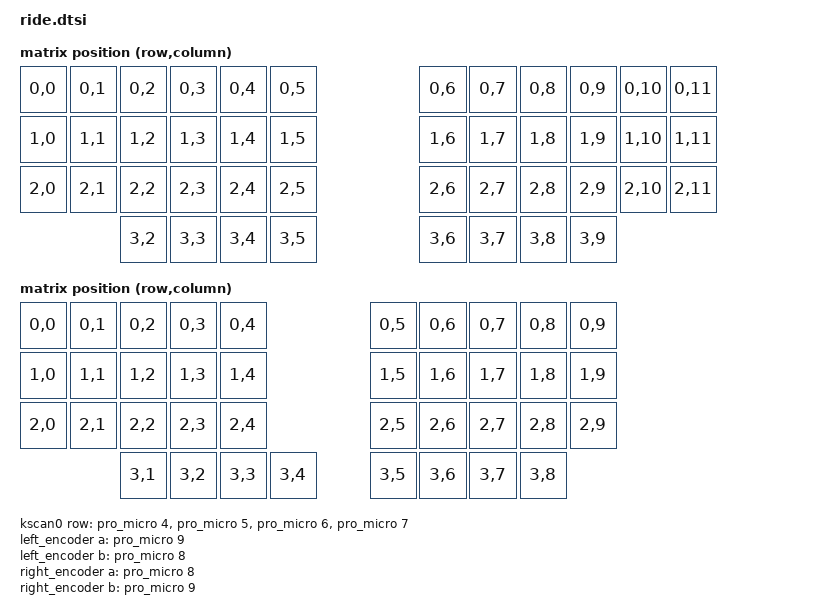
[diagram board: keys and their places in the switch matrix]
/*
 * Copyright (c) 2020 Pete Johanson
 *
 * SPDX-License-Identifier: MIT
 */

#include <dt-bindings/zmk/matrix_transform.h>

/ {
	chosen {
		zmk,kscan = &kscan0;
		zmk,matrix_transform = &default_transform;
	};

	default_transform: keymap_transform_0 {
		compatible = "zmk,matrix-transform";
		columns = <12>;
		rows = <4>;
// | MX6  | MX5  | MX4  | MX3  | MX2  | MX1  |                               | MX1  | MX2  | MX3  | MX4  | MX5  | MX6  |
// | MX12 | MX11 | MX10 | MX9  | MX8  | MX7  |                               | MX7  | MX8  | MX9  | MX10 | MX11 | MX12 |
// | MX20 | MX19 | MX18 | MX17 | MX16 | MX15 |                               | MX15 | MX16 | MX17 | MX18 | MX19 | MX20 |
//                           | MX24 | MX23 | MX22 | MX21 |       | MX21 | MX22 | MX23 | MX24 |
		map = <
RC(0,0) RC(0,1) RC(0,2) RC(0,3) RC(0,4) RC(0,5)                                 RC(0,6) RC(0,7) RC(0,8) RC(0,9) RC(0,10) RC(0,11)
RC(1,0) RC(1,1) RC(1,2) RC(1,3) RC(1,4) RC(1,5)                                 RC(1,6) RC(1,7) RC(1,8) RC(1,9) RC(1,10) RC(1,11)
RC(2,0) RC(2,1) RC(2,2) RC(2,3) RC(2,4) RC(2,5)                                 RC(2,6) RC(2,7) RC(2,8) RC(2,9) RC(2,10) RC(2,11)
                  RC(3,2) RC(3,3) RC(3,4) RC(3,5)                              RC(3,6) RC(3,7) RC(3,8) RC(3,9)  
		>;
	};

// | MX5  | MX4  | MX3  | MX2  | MX1  |                               | MX1  | MX2  | MX3  | MX4  | MX5  |
// | MX11 | MX10 | MX9  | MX8  | MX7  |                               | MX7  | MX8  | MX9  | MX10 | MX11 |
// | MX19 | MX18 | MX17 | MX16 | MX15 |                               | MX15 | MX16 | MX17 | MX18 | MX19 |
//                   | MX24 | MX23 | MX22 | MX21 |       | MX21 | MX22 | MX23 | MX24 | 
	five_column_transform: keymap_transform_1 {
		compatible = "zmk,matrix-transform";
		columns = <10>;
		rows = <4>;
		map = <
RC(0,0) RC(0,1) RC(0,2) RC(0,3) RC(0,4)                                 RC(0,5) RC(0,6) RC(0,7) RC(0,8) RC(0,9)
RC(1,0) RC(1,1) RC(1,2) RC(1,3) RC(1,4)                                 RC(1,5) RC(1,6) RC(1,7) RC(1,8) RC(1,9)
RC(2,0) RC(2,1) RC(2,2) RC(2,3) RC(2,4)                                 RC(2,5) RC(2,6) RC(2,7) RC(2,8) RC(2,9)
             RC(3,1) RC(3,2) RC(3,3) RC(3,4)                         RC(3,5) RC(3,6) RC(3,7) RC(3,8) 
		>;
	};

	kscan0: kscan {
		compatible = "zmk,kscan-gpio-matrix";

		diode-direction = "col2row";
		row-gpios
			= <&pro_micro 4 (GPIO_ACTIVE_HIGH | GPIO_PULL_DOWN)>
			, <&pro_micro 5 (GPIO_ACTIVE_HIGH | GPIO_PULL_DOWN)>
			, <&pro_micro 6 (GPIO_ACTIVE_HIGH | GPIO_PULL_DOWN)>
			, <&pro_micro 7 (GPIO_ACTIVE_HIGH | GPIO_PULL_DOWN)>
			;
		
	};

	left_encoder: encoder_left {
		compatible = "alps,ec11";
		a-gpios = <&pro_micro 9 (GPIO_ACTIVE_HIGH | GPIO_PULL_UP)>;
		b-gpios = <&pro_micro 8 (GPIO_ACTIVE_HIGH | GPIO_PULL_UP)>;
		steps = <80>;
		status = "disabled";
	};

	right_encoder: encoder_right {
		compatible = "alps,ec11";
		a-gpios = <&pro_micro 8 (GPIO_ACTIVE_HIGH | GPIO_PULL_UP)>;
		b-gpios = <&pro_micro 9 (GPIO_ACTIVE_HIGH | GPIO_PULL_UP)>;
		steps = <80>;
		status = "disabled";
	};

	sensors {
		compatible = "zmk,keymap-sensors";
		sensors = <&left_encoder &right_encoder>;
	};

	// TODO: RGB node(s)
};

&pro_micro_i2c {
	status = "okay";

	ssd1306@3c {
		compatible = "solomon,ssd1306";
		reg = <0x3c>;
		width = <128>;
		height = <64>;
		segment-offset = <0>;
		page-offset = <0>;
		display-offset = <0>;
		multiplex-ratio = <63>;
		prechargep = <0x22>;
	};
};
